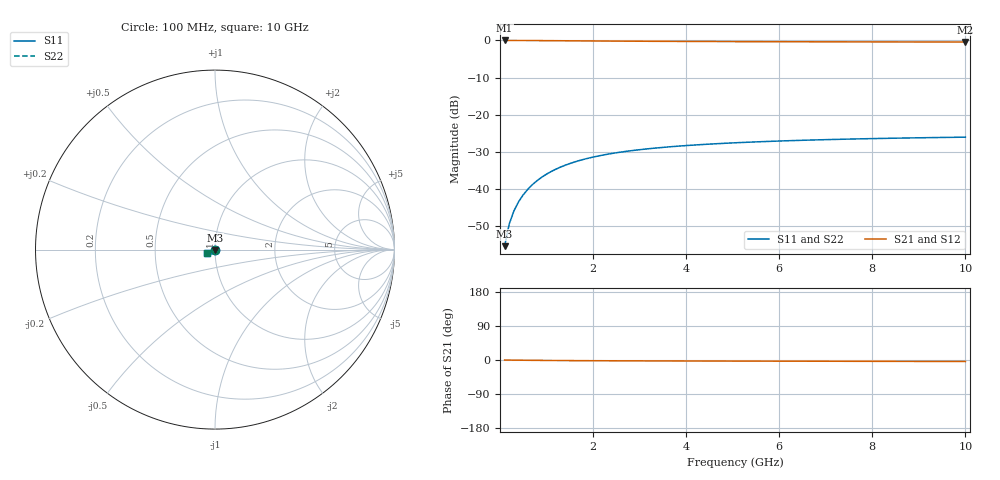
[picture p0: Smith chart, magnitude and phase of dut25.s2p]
! Touchstone file exported from HFSS 2024.1.0
!  File:  C:/UserFiles/LocalFiles/RDL_TSV_Batchsim/temp_TSV1_25_1778747288.aedt
!  Generated:  04:32:21 PM May 14, 2026
!  Design:  TSV1
!  Project:  temp_TSV1_25_1778747288
!  Setup:  Setup1
!  Solution:  Sweep
! Variables:
!  dtsv = 19.92um
!  hbump = 3um
!  htsv = 52.38um
!  lrdl = 252.1521522um
!  p = 40
!  p1 = 59.98um
!  t = 500um
!  trdl = 3um
!  wrdl = 24.89489489um
# GHz S MA R 50.000000
! Terminal data exported
! Port[1] = TSV22_T1
! Port[2] = TSV22_T2
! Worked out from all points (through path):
!   100 points, 100 MHz to 10 GHz, reference 50 ohm
!   highest |S21| = 0.00 dB at 100 MHz (marker M1); lowest = -0.4 dB at 10 GHz (marker M2)
!   lowest |S11| = -55.3 dB at 100 MHz (marker M3), VSWR 1.00, Z = 50 - j0.172 ohm
!   |S11| at or under -10 dB: start of sweep to end of sweep
!   |S22| runs from -55.3 to -26.0 dB; largest |S21 - S12| = 3.9e-15
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0.1  0.001716 -90.2  0.9999 -0.1  0.9999 -0.1  0.001716 -90.2
! Gamma 0 0 0 0
! Port Impedance 50 0 50 0
0.2  0.003422 -93.3  0.9997 -0.3  0.9997 -0.3  0.003422 -93.3
0.3  0.005112 -95.8  0.9993 -0.4  0.9993 -0.4  0.005112 -95.8
0.4  0.006779 -98.0  0.9989 -0.5  0.9989 -0.5  0.006779 -98.0
0.5  0.008414 -100.2  0.9983 -0.6  0.9983 -0.6  0.008414 -100.2
0.6  0.01001 -102.3  0.9976 -0.8  0.9976 -0.8  0.01001 -102.3
0.7  0.01157 -104.3  0.9969 -0.9  0.9969 -0.9  0.01157 -104.3
0.8  0.01308 -106.3  0.9961 -1.0  0.9961 -1.0  0.01308 -106.3
0.9  0.01453 -108.2  0.9952 -1.1  0.9952 -1.1  0.01453 -108.2
1.1  0.01729 -111.8  0.9933 -1.3  0.9933 -1.3  0.01729 -111.8
1.4  0.02101 -116.7  0.9902 -1.5  0.9902 -1.5  0.02101 -116.7
1.6  0.02322 -119.6  0.9882 -1.6  0.9882 -1.6  0.02322 -119.6
1.8  0.02522 -122.3  0.9862 -1.8  0.9862 -1.8  0.02522 -122.3
2.1  0.02789 -126.0  0.9834 -1.9  0.9834 -1.9  0.02789 -126.0
2.5  0.0309 -130.1  0.98 -2.1  0.98 -2.1  0.0309 -130.1
2.9  0.03342 -133.7  0.9769 -2.3  0.9769 -2.3  0.03342 -133.7
3.4  0.03604 -137.3  0.9735 -2.4  0.9735 -2.4  0.03604 -137.3
4.2  0.03936 -142.0  0.9689 -2.6  0.9689 -2.6  0.03936 -142.0
5.1  0.04223 -146.1  0.9649 -2.9  0.9649 -2.9  0.04223 -146.1
6.7  0.04586 -151.6  0.9595 -3.2  0.9595 -3.2  0.04586 -151.6
8.4  0.04844 -155.8  0.9556 -3.6  0.9556 -3.6  0.04844 -155.8
10  0.0501 -158.8  0.953 -4.0  0.953 -4.0  0.0501 -158.8
